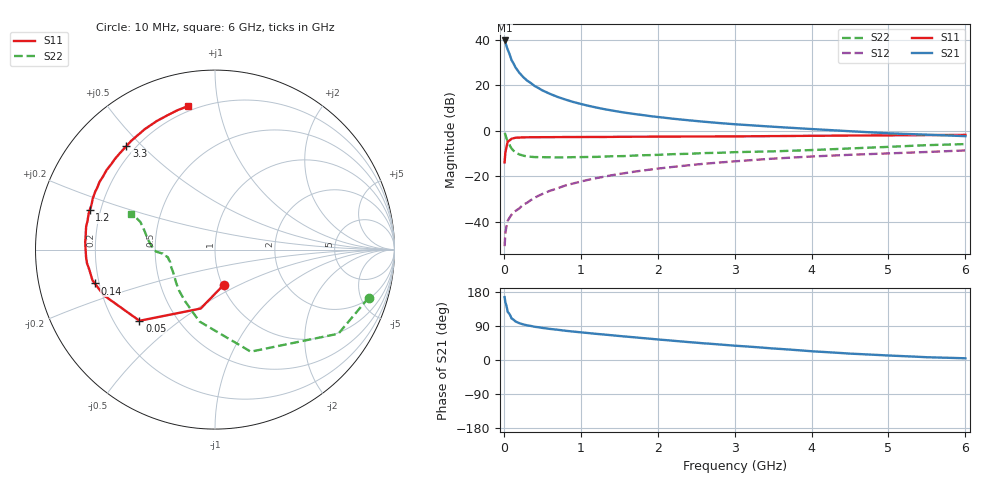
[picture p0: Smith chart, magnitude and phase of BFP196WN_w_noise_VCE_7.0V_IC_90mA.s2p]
! Infineon Technologies  Discrete & RF Semiconductors
! BFP196WN
! VCE =  7.0 V,  IC =  90 mA
! Common Emitter S-Parameters:  Jan 2017
# GHz  S  MA  R  50
!  f  S11  S21  S12  S22
! GHz  MAG  ANG  MAG  ANG  MAG  ANG  MAG  ANG
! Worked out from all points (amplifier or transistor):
!   77 points, 10 MHz to 6 GHz, reference 50 ohm
!   highest |S21| = 39.7 dB at 10 MHz (marker M1)
!   |S21| within 3 dB of that: start of sweep to 39.41 MHz
!   unconditionally stable (mu >= 1): 532.8 MHz to 2.507 GHz
!   at 130 MHz: K = 0.66, MSG = 32.6 dB, |S12| = -35.9 dB
!   at 2.2 GHz: K = 1.01, MAG = 9.8 dB, |S12| = -15.9 dB
!   at 6 GHz: K = 0.91, MSG = 3.1 dB, |S12| = -8.6 dB
!   lowest NFmin = 1.69 dB at 450 MHz
!   S11 on the Smith chart (normalised r, x): 10 MHz: 1.02, -0.42; 50 MHz: 0.31, -0.36; 140 MHz: 0.18, -0.13; 1.2 GHz: 0.16, +0.15; 3.3 GHz: 0.17, +0.45; 6 GHz: 0.17, +0.82
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0.01  0.2025 -76.2  97.01 166.0  0.0029 75.4  0.8978 -17.3
0.02  0.3376 -103.6  87.2 152.4  0.0056 67.0  0.8319 -34.3
0.05  0.5783 -136.7  61.19 126.9  0.0104 55.4  0.6026 -70.7
0.1  0.6701 -157.7  35.87 109.6  0.0143 51.4  0.4097 -102.2
0.14  0.696 -164.3  27.14 103.9  0.0166 54.9  0.345 -115.9
0.15  0.7038 -165.9  25.02 101.9  0.0172 55.6  0.3326 -120.1
0.2  0.7091 -170.9  19 97.3  0.0196 59.6  0.3028 -131.7
0.25  0.7173 -174.0  15.31 94.0  0.0237 61.6  0.2853 -139.2
0.3  0.7195 -176.7  12.81 91.6  0.026 63.4  0.2731 -145.4
0.4  0.7213 179.6  9.686 87.7  0.0337 67.8  0.2644 -152.7
0.5  0.7243 176.6  7.762 84.7  0.0407 69.4  0.2629 -158.0
0.7  0.7265 172.1  5.549 79.8  0.0543 71.4  0.2593 -164.2
0.9  0.7281 167.8  4.315 75.1  0.0693 70.9  0.2631 -167.5
1.1  0.7317 164.3  3.544 71.1  0.0839 70.7  0.2652 -170.3
1.2  0.7322 162.5  3.254 69.0  0.0907 70.1  0.2667 -171.0
1.6  0.7391 156.0  2.469 61.6  0.1191 68.1  0.2791 -173.7
2.1  0.7452 148.2  1.927 52.6  0.1539 64.4  0.3009 -176.2
3.1  0.7555 133.5  1.359 36.5  0.219 55.9  0.3416 179.6
3.3  0.7591 130.6  1.292 33.6  0.2315 54.3  0.3473 178.3
4.1  0.7778 119.2  1.069 21.9  0.2768 47.4  0.383 170.1
5.1  0.7956 108.6  0.869 11.0  0.323 39.7  0.451 159.2
6  0.8135 100.6  0.762 4.5  0.37 33.6  0.51 156.8
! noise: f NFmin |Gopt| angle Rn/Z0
0.45  1.69  0.59  -175  0.05
0.9  1.82  0.6  -168  0.07
1.9  2.82  0.71  -146  0.23
2.4  3.6  0.72  -138  0.39
